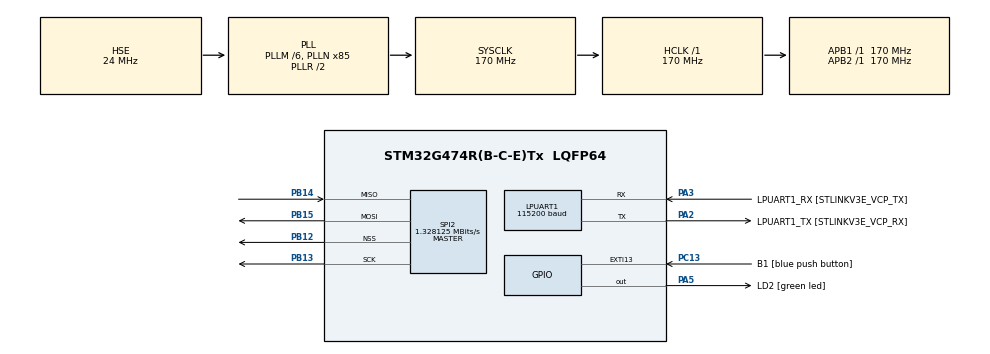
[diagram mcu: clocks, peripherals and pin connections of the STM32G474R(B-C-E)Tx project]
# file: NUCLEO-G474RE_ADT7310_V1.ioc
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Dma.Request0=SPI2_TX
Dma.Request1=SPI2_RX
Dma.SPI2_RX.1.Direction=DMA_PERIPH_TO_MEMORY
Dma.SPI2_RX.1.EventEnable=DISABLE
Dma.SPI2_RX.1.Instance=DMA1_Channel2
Dma.SPI2_RX.1.MemDataAlignment=DMA_MDATAALIGN_BYTE
Dma.SPI2_RX.1.MemInc=DMA_MINC_ENABLE
Dma.SPI2_RX.1.Mode=DMA_NORMAL
Dma.SPI2_RX.1.PeriphDataAlignment=DMA_PDATAALIGN_BYTE
Dma.SPI2_RX.1.PeriphInc=DMA_PINC_DISABLE
Dma.SPI2_RX.1.Polarity=HAL_DMAMUX_REQ_GEN_RISING
Dma.SPI2_RX.1.Priority=DMA_PRIORITY_LOW
Dma.SPI2_RX.1.RequestNumber=1
Dma.SPI2_RX.1.SignalID=NONE
Dma.SPI2_RX.1.SyncEnable=DISABLE
Dma.SPI2_RX.1.SyncPolarity=HAL_DMAMUX_SYNC_NO_EVENT
Dma.SPI2_RX.1.SyncRequestNumber=1
Dma.SPI2_RX.1.SyncSignalID=NONE
Dma.SPI2_TX.0.Direction=DMA_MEMORY_TO_PERIPH
Dma.SPI2_TX.0.EventEnable=DISABLE
Dma.SPI2_TX.0.Instance=DMA1_Channel1
Dma.SPI2_TX.0.MemDataAlignment=DMA_MDATAALIGN_BYTE
Dma.SPI2_TX.0.MemInc=DMA_MINC_ENABLE
Dma.SPI2_TX.0.Mode=DMA_NORMAL
Dma.SPI2_TX.0.PeriphDataAlignment=DMA_PDATAALIGN_BYTE
Dma.SPI2_TX.0.PeriphInc=DMA_PINC_DISABLE
Dma.SPI2_TX.0.Polarity=HAL_DMAMUX_REQ_GEN_RISING
Dma.SPI2_TX.0.Priority=DMA_PRIORITY_LOW
Dma.SPI2_TX.0.RequestNumber=1
Dma.SPI2_TX.0.SignalID=NONE
Dma.SPI2_TX.0.SyncEnable=DISABLE
Dma.SPI2_TX.0.SyncPolarity=HAL_DMAMUX_SYNC_NO_EVENT
Dma.SPI2_TX.0.SyncRequestNumber=1
Dma.SPI2_TX.0.SyncSignalID=NONE
LPUART1.BaudRate=115200
LPUART1.WordLength=UART_WORDLENGTH_8B
Mcu.Family=STM32G4
Mcu.Name=STM32G474R(B-C-E)Tx
Mcu.Package=LQFP64
NVIC.DMA1_Channel1_IRQn=true\:0\:0\:false\:false\:true\:false\:true\:true
NVIC.DMA1_Channel2_IRQn=true\:0\:0\:false\:false\:true\:false\:true\:true
NVIC.EXTI15_10_IRQn=true\:0\:0\:false\:false\:true\:true\:true\:true
NVIC.PriorityGroup=NVIC_PRIORITYGROUP_4
PA13.GPIO_Label=T_SWDIO
PA13.Mode=Trace_Asynchronous_SW
PA13.Signal=SYS_JTMS-SWDIO
PA14.GPIO_Label=T_SWCLK
PA14.Mode=Trace_Asynchronous_SW
PA14.Signal=SYS_JTCK-SWCLK
PA2.GPIO_Label=LPUART1_TX [STLINKV3E_VCP_RX]
PA2.Mode=Asynchronous
PA2.Signal=LPUART1_TX
PA3.GPIO_Label=LPUART1_RX [STLINKV3E_VCP_TX]
PA3.Mode=Asynchronous
PA3.Signal=LPUART1_RX
PA5.GPIO_Label=LD2 [green led]
PA5.Signal=GPIO_Output
PB12.Mode=NSS_Signal_Hard_Output
PB12.Signal=SPI2_NSS
PB13.GPIO_PuPd=GPIO_PULLUP
PB13.GPIO_Speed=GPIO_SPEED_FREQ_LOW
PB13.Mode=Full_Duplex_Master
PB13.Signal=SPI2_SCK
PB14.GPIO_Speed=GPIO_SPEED_FREQ_LOW
PB14.Mode=Full_Duplex_Master
PB14.Signal=SPI2_MISO
PB15.GPIO_Speed=GPIO_SPEED_FREQ_LOW
PB15.Mode=Full_Duplex_Master
PB15.Signal=SPI2_MOSI
PB3.GPIO_Label=T_SWO
PB3.Mode=Trace_Asynchronous_SW
PB3.Signal=SYS_JTDO-SWO
PC13.GPIO_Label=B1 [blue push button]
PC13.Signal=GPXTI13
PC14-OSC32_IN.Mode=LSE-External-Oscillator
PC14-OSC32_IN.Signal=RCC_OSC32_IN
PC15-OSC32_OUT.Mode=LSE-External-Oscillator
PC15-OSC32_OUT.Signal=RCC_OSC32_OUT
PF0-OSC_IN.Mode=HSE-External-Oscillator
PF0-OSC_IN.Signal=RCC_OSC_IN
PF1-OSC_OUT.Mode=HSE-External-Oscillator
PF1-OSC_OUT.Signal=RCC_OSC_OUT
ProjectManager.HeapSize=0x200
ProjectManager.StackSize=0x400
ProjectManager.TargetToolchain=STM32CubeIDE
RCC.ADC12Freq_Value=170000000
RCC.ADC345Freq_Value=170000000
RCC.AHBFreq_Value=170000000
RCC.APB1Freq_Value=170000000
RCC.APB1TimFreq_Value=170000000
RCC.APB2Freq_Value=170000000
RCC.APB2TimFreq_Value=170000000
RCC.CortexFreq_Value=170000000
RCC.EXTERNAL_CLOCK_VALUE=12288000
RCC.HCLKFreq_Value=170000000
RCC.HSE_VALUE=24000000
RCC.HSI48_VALUE=48000000
RCC.HSI_VALUE=16000000
RCC.PLLM=RCC_PLLM_DIV6
RCC.PLLN=85
RCC.PLLSourceVirtual=RCC_PLLSOURCE_HSE
RCC.RTCClockSelection=RCC_RTCCLKSOURCE_LSE
RCC.SYSCLKFreq_VALUE=170000000
RCC.SYSCLKSource=RCC_SYSCLKSOURCE_PLLCLK
RCC.USBFreq_Value=170000000
RCC.VCOOutputFreq_Value=340000000
SPI2.BaudRatePrescaler=SPI_BAUDRATEPRESCALER_128
SPI2.CLKPhase=SPI_PHASE_2EDGE
SPI2.CLKPolarity=SPI_POLARITY_HIGH
SPI2.CalculateBaudRate=1.328125 MBits/s
SPI2.DataSize=SPI_DATASIZE_8BIT
SPI2.Direction=SPI_DIRECTION_2LINES
SPI2.Mode=SPI_MODE_MASTER
SPI2.TIMode=SPI_TIMODE_DISABLE
SPI2.VirtualNSS=VM_NSSHARD
SPI2.VirtualType=VM_MASTER
VP_SYS_VS_DBSignals.Mode=DisableDeadBatterySignals
board=NUCLEO-G474RE

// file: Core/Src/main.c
/* USER CODE BEGIN Header */
/**
 ******************************************************************************
 * @file           : main.c
 * @brief          : Main program body
 ******************************************************************************
 * @attention
 *
 * Copyright (c) 2024 STMicroelectronics.
 * All rights reserved.
 *
 * This software is licensed under terms that can be found in the LICENSE file
 * in the root directory of this software component.
 * If no LICENSE file comes with this software, it is provided AS-IS.
 *
 ******************************************************************************
 */
/* USER CODE END Header */
#include "main.h"

/* USER CODE BEGIN Includes */

#include "VT_ADT7310.h"
#include <stdio.h>

/* USER CODE END Includes */

UART_HandleTypeDef hlpuart1;

SPI_HandleTypeDef hspi2;
DMA_HandleTypeDef hdma_spi2_tx;
DMA_HandleTypeDef hdma_spi2_rx;

/* USER CODE BEGIN PV */

uint8_t ADT7310_reset[4] = {0xff, 0xff, 0xff, 0xff}, ADT7310_data[70], ADT7310_cmd, read = 0x40, write = 0x00, address, num_data;

/* USER CODE END PV */

void SystemClock_Config(void);
static void MX_GPIO_Init(void);
static void MX_DMA_Init(void);
static void MX_LPUART1_UART_Init(void);
static void MX_SPI2_Init(void);
/* USER CODE BEGIN PFP */

void VT_Read_ADT7310_regs(uint8_t ADT7310_address);
void VT_ADT7310_address_Error(void);

/* USER CODE END PFP */

int main(void)
{

  /* MCU Configuration--------------------------------------------------------*/

  /* Reset of all peripherals, Initializes the Flash interface and the Systick. */
  HAL_Init();

  /* Configure the system clock */
  SystemClock_Config();

  /* Initialize all configured peripherals */
  MX_GPIO_Init();
  MX_DMA_Init();
  MX_LPUART1_UART_Init();
  MX_SPI2_Init();
  /* USER CODE BEGIN 2 */

	printf("====================================\n");
	printf("Starting >> NUCLEO-G474RE_ADT7310_V1 \n");

	num_data = 4;
	switch (HAL_SPI_TransmitReceive_DMA(&hspi2, ADT7310_reset, ADT7310_data, num_data))
	{
	case HAL_OK: 	  /* Communication is completed ___________________________________________ */
		break;
	case HAL_TIMEOUT: /* An Error Occur ______________________________________________________ */
		printf("SPI HAL_TIMEOUT \n");
	case HAL_ERROR:   /* Call Timeout Handler */
		printf("SPI HAL_ERROR \n");
		Error_Handler();
		break;
	default:
		break;
	}
	for(int cntr = 0; cntr < 400; cntr++) {}

	VT_Read_ADT7310_regs(Status);

	VT_Read_ADT7310_regs(Config);

	VT_Read_ADT7310_regs(Temp_val);

	VT_Read_ADT7310_regs(ID);

	VT_Read_ADT7310_regs(TCRIT_setpt);

	VT_Read_ADT7310_regs(THYST_setpt);

	VT_Read_ADT7310_regs(THIGH_setpt);

	VT_Read_ADT7310_regs(TLOW_setpt);

	printf("Ending   >> NUCLEO-G474RE_ADT7310_V1 \n\n");

  /* USER CODE END 2 */

  /* Infinite loop */
  /* USER CODE BEGIN WHILE */
	while (1)
	{
		HAL_GPIO_TogglePin(GPIOA, GPIO_PIN_5);
		HAL_Delay(50);
    /* USER CODE END WHILE */

	}
}

void SystemClock_Config(void)
{
  RCC_OscInitTypeDef RCC_OscInitStruct = {0};
  RCC_ClkInitTypeDef RCC_ClkInitStruct = {0};

  /** Configure the main internal regulator output voltage
  */
  HAL_PWREx_ControlVoltageScaling(PWR_REGULATOR_VOLTAGE_SCALE1_BOOST);

  /** Initializes the RCC Oscillators according to the specified parameters
  * in the RCC_OscInitTypeDef structure.
  */
  RCC_OscInitStruct.OscillatorType = RCC_OSCILLATORTYPE_HSE;
  RCC_OscInitStruct.HSEState = RCC_HSE_ON;
  RCC_OscInitStruct.PLL.PLLState = RCC_PLL_ON;
  RCC_OscInitStruct.PLL.PLLSource = RCC_PLLSOURCE_HSE;
  RCC_OscInitStruct.PLL.PLLM = RCC_PLLM_DIV6;
  RCC_OscInitStruct.PLL.PLLN = 85;
  RCC_OscInitStruct.PLL.PLLP = RCC_PLLP_DIV2;
  RCC_OscInitStruct.PLL.PLLQ = RCC_PLLQ_DIV2;
  RCC_OscInitStruct.PLL.PLLR = RCC_PLLR_DIV2;
  if (HAL_RCC_OscConfig(&RCC_OscInitStruct) != HAL_OK)
  {
    Error_Handler();
  }

  /** Initializes the CPU, AHB and APB buses clocks
  */
  RCC_ClkInitStruct.ClockType = RCC_CLOCKTYPE_HCLK|RCC_CLOCKTYPE_SYSCLK
                              |RCC_CLOCKTYPE_PCLK1|RCC_CLOCKTYPE_PCLK2;
  RCC_ClkInitStruct.SYSCLKSource = RCC_SYSCLKSOURCE_PLLCLK;
  RCC_ClkInitStruct.AHBCLKDivider = RCC_SYSCLK_DIV1;
  RCC_ClkInitStruct.APB1CLKDivider = RCC_HCLK_DIV1;
  RCC_ClkInitStruct.APB2CLKDivider = RCC_HCLK_DIV1;

  if (HAL_RCC_ClockConfig(&RCC_ClkInitStruct, FLASH_LATENCY_4) != HAL_OK)
  {
    Error_Handler();
  }
}

static void MX_LPUART1_UART_Init(void)
{

  hlpuart1.Instance = LPUART1;
  hlpuart1.Init.BaudRate = 115200;
  hlpuart1.Init.WordLength = UART_WORDLENGTH_8B;
  hlpuart1.Init.StopBits = UART_STOPBITS_1;
  hlpuart1.Init.Parity = UART_PARITY_NONE;
  hlpuart1.Init.Mode = UART_MODE_TX_RX;
  hlpuart1.Init.HwFlowCtl = UART_HWCONTROL_NONE;
  hlpuart1.Init.OneBitSampling = UART_ONE_BIT_SAMPLE_DISABLE;
  hlpuart1.Init.ClockPrescaler = UART_PRESCALER_DIV1;
  hlpuart1.AdvancedInit.AdvFeatureInit = UART_ADVFEATURE_NO_INIT;
  if (HAL_UART_Init(&hlpuart1) != HAL_OK)
  {
    Error_Handler();
  }
  if (HAL_UARTEx_SetTxFifoThreshold(&hlpuart1, UART_TXFIFO_THRESHOLD_1_8) != HAL_OK)
  {
    Error_Handler();
  }
  if (HAL_UARTEx_SetRxFifoThreshold(&hlpuart1, UART_RXFIFO_THRESHOLD_1_8) != HAL_OK)
  {
    Error_Handler();
  }
  if (HAL_UARTEx_DisableFifoMode(&hlpuart1) != HAL_OK)
  {
    Error_Handler();
  }

}

static void MX_SPI2_Init(void)
{

  /* SPI2 parameter configuration*/
  hspi2.Instance = SPI2;
  hspi2.Init.Mode = SPI_MODE_MASTER;
  hspi2.Init.Direction = SPI_DIRECTION_2LINES;
  hspi2.Init.DataSize = SPI_DATASIZE_8BIT;
  hspi2.Init.CLKPolarity = SPI_POLARITY_HIGH;
  hspi2.Init.CLKPhase = SPI_PHASE_2EDGE;
  hspi2.Init.NSS = SPI_NSS_HARD_OUTPUT;
  hspi2.Init.BaudRatePrescaler = SPI_BAUDRATEPRESCALER_128;
  hspi2.Init.FirstBit = SPI_FIRSTBIT_MSB;
  hspi2.Init.TIMode = SPI_TIMODE_DISABLE;
  hspi2.Init.CRCCalculation = SPI_CRCCALCULATION_DISABLE;
  hspi2.Init.CRCPolynomial = 7;
  hspi2.Init.CRCLength = SPI_CRC_LENGTH_DATASIZE;
  hspi2.Init.NSSPMode = SPI_NSS_PULSE_DISABLE;
  if (HAL_SPI_Init(&hspi2) != HAL_OK)
  {
    Error_Handler();
  }

}

static void MX_DMA_Init(void)
{

  /* DMA controller clock enable */
  __HAL_RCC_DMAMUX1_CLK_ENABLE();
  __HAL_RCC_DMA1_CLK_ENABLE();

  /* DMA interrupt init */
  /* DMA1_Channel1_IRQn interrupt configuration */
  HAL_NVIC_SetPriority(DMA1_Channel1_IRQn, 0, 0);
  HAL_NVIC_EnableIRQ(DMA1_Channel1_IRQn);
  /* DMA1_Channel2_IRQn interrupt configuration */
  HAL_NVIC_SetPriority(DMA1_Channel2_IRQn, 0, 0);
  HAL_NVIC_EnableIRQ(DMA1_Channel2_IRQn);

}

static void MX_GPIO_Init(void)
{
  GPIO_InitTypeDef GPIO_InitStruct = {0};

  /* GPIO Ports Clock Enable */
  __HAL_RCC_GPIOC_CLK_ENABLE();
  __HAL_RCC_GPIOF_CLK_ENABLE();
  __HAL_RCC_GPIOA_CLK_ENABLE();
  __HAL_RCC_GPIOB_CLK_ENABLE();

  /*Configure GPIO pin Output Level */
  HAL_GPIO_WritePin(LD2_GPIO_Port, LD2_Pin, GPIO_PIN_RESET);

  /*Configure GPIO pin : B1_Pin */
  GPIO_InitStruct.Pin = B1_Pin;
  GPIO_InitStruct.Mode = GPIO_MODE_IT_RISING;
  GPIO_InitStruct.Pull = GPIO_NOPULL;
  HAL_GPIO_Init(B1_GPIO_Port, &GPIO_InitStruct);

  /*Configure GPIO pin : LD2_Pin */
  GPIO_InitStruct.Pin = LD2_Pin;
  GPIO_InitStruct.Mode = GPIO_MODE_OUTPUT_PP;
  GPIO_InitStruct.Pull = GPIO_NOPULL;
  GPIO_InitStruct.Speed = GPIO_SPEED_FREQ_LOW;
  HAL_GPIO_Init(LD2_GPIO_Port, &GPIO_InitStruct);

  /* EXTI interrupt init*/
  HAL_NVIC_SetPriority(EXTI15_10_IRQn, 0, 0);
  HAL_NVIC_EnableIRQ(EXTI15_10_IRQn);

}

/* USER CODE BEGIN 4 */

void VT_Read_ADT7310_regs(uint8_t ADT7310_address)
{
	ADT7310_cmd = read + (ADT7310_address << 3);
	if ((ADT7310_address == Status) || (ADT7310_address == Config) || (ADT7310_address == ID) || (ADT7310_address == THYST_setpt))
	{
		num_data = 2;
	}
	else if ((ADT7310_address == Temp_val) || (ADT7310_address == TCRIT_setpt) || (ADT7310_address == THIGH_setpt) || (ADT7310_address == TLOW_setpt))
	{
		num_data = 3;
	}
	else
		VT_ADT7310_address_Error();

	switch (HAL_SPI_TransmitReceive_DMA(&hspi2, &ADT7310_cmd, ADT7310_data, num_data))
	{
	case HAL_OK: 	  /* Communication is completed ___________________________________________ */
		break;
	case HAL_TIMEOUT: /* An Error Occur ______________________________________________________ */
		printf("SPI HAL_TIMEOUT \n");
	case HAL_ERROR:   /* Call Timeout Handler */
		printf("SPI HAL_ERROR \n");
		Error_Handler();
		break;
	default:
		break;
	}

	printf("address = %x \n", ADT7310_address);
	printf("ADT7310_cmd = x%02x \n", ADT7310_cmd);
	for(int cntr = 1; cntr < num_data; cntr++)
	{
		printf("ADT7310_data [%x] = x%02x \n", cntr, ADT7310_data[cntr]);
	}
}

void VT_ADT7310_address_Error(void)
{
	printf("ADT7310 address Error, not in the specified address \n");
}

void HAL_SPI_TxRxCpltCallback(SPI_HandleTypeDef *hspi)
{
	/* Prevent unused argument(s) compilation warning */
	UNUSED(hspi);

	/* NOTE : This function should not be modified, when the callback is needed,
            the HAL_SPI_RxCpltCallback should be implemented in the user file
	 */

	//	for(int cntr = 0; cntr < num_data; cntr++)
	//	{
	//		printf("ADT7310_data [%x] = %x \n", cntr, ADT7310_data[cntr]);
	//	}

}

/* USER CODE END 4 */

void Error_Handler(void)
{
  /* USER CODE BEGIN Error_Handler_Debug */
	/* User can add his own implementation to report the HAL error return state */
	printf("Error_Handler \n");
	HAL_GPIO_WritePin(GPIOA, GPIO_PIN_5, SET);
	__disable_irq();
	while (1)
	{
	}
  /* USER CODE END Error_Handler_Debug */
}
